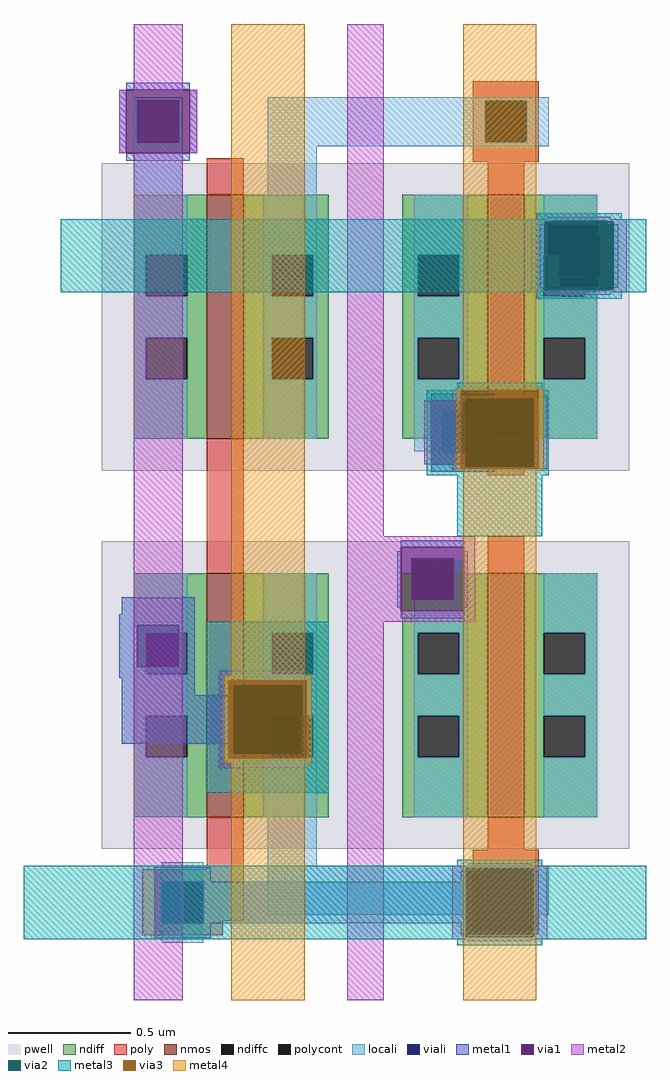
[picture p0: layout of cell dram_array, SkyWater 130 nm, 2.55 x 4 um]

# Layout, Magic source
magic
tech sky130B
magscale 1 2
<< poly >>
rect 60 -65 90 30
rect 60 -323 90 -280
rect 7 -333 90 -323
rect 7 -367 23 -333
rect 57 -365 90 -333
rect 57 -367 73 -365
rect 7 -377 73 -367
<< polycont >>
rect 23 -367 57 -333
<< locali >>
rect 0 307 40 310
rect 0 273 3 307
rect 37 273 40 307
rect 0 210 40 273
rect 350 197 380 230
rect 350 115 380 163
rect 230 20 253 50
rect 0 -123 40 -80
rect 0 -157 3 -123
rect 37 -157 40 -123
rect 0 -160 40 -157
rect 0 -280 40 -260
rect 23 -333 57 -317
rect 23 -383 57 -367
<< viali >>
rect 3 273 37 307
rect 348 163 382 197
rect 253 18 287 52
rect 228 -102 262 -68
rect 3 -157 37 -123
rect 23 -367 57 -333
<< metal1 >>
rect -6 316 46 322
rect -12 264 -6 316
rect 46 264 52 316
rect -6 258 46 264
rect 342 206 388 209
rect 333 154 339 206
rect 391 154 397 206
rect 342 151 388 154
rect 244 61 296 67
rect 244 3 296 9
rect 219 -59 271 -53
rect -10 -114 50 -100
rect 216 -108 219 -62
rect -12 -123 50 -114
rect 271 -108 274 -62
rect 219 -117 271 -111
rect -12 -157 3 -123
rect 37 -157 50 -123
rect -12 -166 50 -157
rect -10 -180 50 -166
rect 78 -180 84 -174
rect -10 -220 84 -180
rect 78 -226 84 -220
rect 136 -226 142 -174
rect 17 -333 63 -321
rect 268 -333 274 -324
rect 17 -367 23 -333
rect 57 -367 274 -333
rect 17 -379 63 -367
rect 268 -376 274 -367
rect 326 -376 332 -324
<< via1 >>
rect -6 307 46 316
rect -6 273 3 307
rect 3 273 37 307
rect 37 273 46 307
rect -6 264 46 273
rect 339 197 391 206
rect 339 163 348 197
rect 348 163 382 197
rect 382 163 391 197
rect 339 154 391 163
rect 244 52 296 61
rect 244 18 253 52
rect 253 18 287 52
rect 287 18 296 52
rect 244 9 296 18
rect 219 -68 271 -59
rect 219 -102 228 -68
rect 228 -102 262 -68
rect 262 -102 271 -68
rect 219 -111 271 -102
rect 84 -226 136 -174
rect 274 -376 326 -324
<< metal2 >>
rect 0 316 40 370
rect -12 264 -6 316
rect 46 264 52 316
rect 0 -430 40 264
rect 175 -50 205 370
rect 339 210 391 212
rect 326 208 404 210
rect 326 152 337 208
rect 393 152 404 208
rect 326 150 404 152
rect 339 148 391 150
rect 261 63 339 65
rect 261 61 272 63
rect 238 9 244 61
rect 261 7 272 9
rect 328 7 339 63
rect 261 5 339 7
rect 175 -59 280 -50
rect 175 -111 219 -59
rect 271 -111 280 -59
rect 175 -120 280 -111
rect 70 -172 140 -160
rect 70 -228 82 -172
rect 138 -228 140 -172
rect 70 -240 140 -228
rect 175 -430 205 -120
rect 274 -320 326 -318
rect 261 -322 339 -320
rect 261 -378 272 -322
rect 328 -378 339 -322
rect 261 -380 339 -378
rect 274 -382 326 -380
<< via2 >>
rect 337 206 393 208
rect 337 154 339 206
rect 339 154 391 206
rect 391 154 393 206
rect 337 152 393 154
rect 272 61 328 63
rect 272 9 296 61
rect 296 9 328 61
rect 272 7 328 9
rect 82 -174 138 -172
rect 82 -226 84 -174
rect 84 -226 136 -174
rect 136 -226 138 -174
rect 82 -228 138 -226
rect 272 -324 328 -322
rect 272 -376 274 -324
rect 274 -376 326 -324
rect 326 -376 328 -324
rect 272 -378 328 -376
<< metal3 >>
rect 330 210 400 215
rect -60 208 420 210
rect -60 152 337 208
rect 393 152 420 208
rect -60 150 420 152
rect 330 145 400 150
rect 265 70 335 76
rect 240 6 268 70
rect 332 6 340 70
rect 240 0 340 6
rect 265 -50 335 0
rect 60 -168 160 -120
rect 60 -232 78 -168
rect 142 -232 160 -168
rect 60 -260 160 -232
rect 265 -320 335 -315
rect -90 -322 420 -320
rect -90 -378 272 -322
rect 328 -378 420 -322
rect -90 -380 420 -378
rect 265 -385 335 -380
<< via3 >>
rect 268 63 332 70
rect 268 7 272 63
rect 272 7 328 63
rect 328 7 332 63
rect 268 6 332 7
rect 78 -172 142 -168
rect 78 -228 82 -172
rect 82 -228 138 -172
rect 138 -228 142 -172
rect 78 -232 142 -228
<< metal4 >>
rect 80 -164 140 370
rect 270 71 330 370
rect 264 70 336 71
rect 264 6 268 70
rect 332 6 336 70
rect 264 5 336 6
rect 74 -168 146 -164
rect 74 -232 78 -168
rect 142 -232 146 -168
rect 74 -236 146 -232
rect 80 -430 140 -236
rect 270 -430 330 5
use dram_cell  dram_cell_0
transform 1 0 40 0 1 100
box -66 -100 366 223
use dram_cell  dram_cell_1
transform 1 0 40 0 -1 -150
box -66 -100 366 223
<< end >>

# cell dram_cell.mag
magic
tech sky130B
magscale 1 2
<< pwell >>
rect -66 -96 366 156
<< nmos >>
rect 20 -70 50 130
rect 250 -70 280 130
<< ndiff >>
rect -40 81 20 130
rect -40 47 -30 81
rect 4 47 20 81
rect -40 13 20 47
rect -40 -21 -30 13
rect 4 -21 20 13
rect -40 -70 20 -21
rect 50 81 120 130
rect 50 47 73 81
rect 107 47 120 81
rect 50 13 120 47
rect 50 -21 73 13
rect 107 -21 120 13
rect 50 -70 120 -21
rect 180 81 250 130
rect 180 47 193 81
rect 227 47 250 81
rect 180 13 250 47
rect 180 -21 193 13
rect 227 -21 250 13
rect 180 -70 250 -21
rect 280 81 340 130
rect 280 47 296 81
rect 330 47 340 81
rect 280 13 340 47
rect 280 -21 296 13
rect 330 -21 340 13
rect 280 -70 340 -21
<< ndiffc >>
rect -30 47 4 81
rect -30 -21 4 13
rect 73 47 107 81
rect 73 -21 107 13
rect 193 47 227 81
rect 193 -21 227 13
rect 296 47 330 81
rect 296 -21 330 13
<< poly >>
rect 238 207 292 223
rect 238 173 248 207
rect 282 173 292 207
rect 20 130 50 160
rect 238 157 292 173
rect 250 130 280 157
rect 20 -100 50 -70
rect 250 -100 280 -70
<< polycont >>
rect 248 173 282 207
<< locali >>
rect 70 207 300 210
rect 70 173 248 207
rect 282 173 300 207
rect 70 170 300 173
rect 70 130 110 170
rect -40 81 4 130
rect -40 47 -30 81
rect -40 13 4 47
rect -40 -21 -30 13
rect -40 -70 4 -21
rect 66 81 110 130
rect 66 47 73 81
rect 107 47 110 81
rect 66 13 110 47
rect 66 -21 73 13
rect 107 -21 110 13
rect 66 -70 110 -21
rect 190 81 234 130
rect 190 47 193 81
rect 227 47 234 81
rect 190 13 234 47
rect 190 -21 193 13
rect 227 -21 234 13
rect 190 -70 234 -21
rect 296 81 340 130
rect 330 47 340 81
rect 296 13 340 47
rect 330 -21 340 13
rect 296 -70 340 -21
rect 190 -80 230 -70
<< labels >>
rlabel locali s 132 186 132 186 4 storage
port 1 nsew
rlabel poly s 33 154 33 154 4 WWL
port 2 nsew
rlabel locali s -37 119 -37 119 4 WBL
port 3 nsew
rlabel locali s 322 -60 322 -60 4 RWL
port 4 nsew
rlabel locali s 216 -74 216 -74 4 RBL
port 5 nsew
<< end >>
